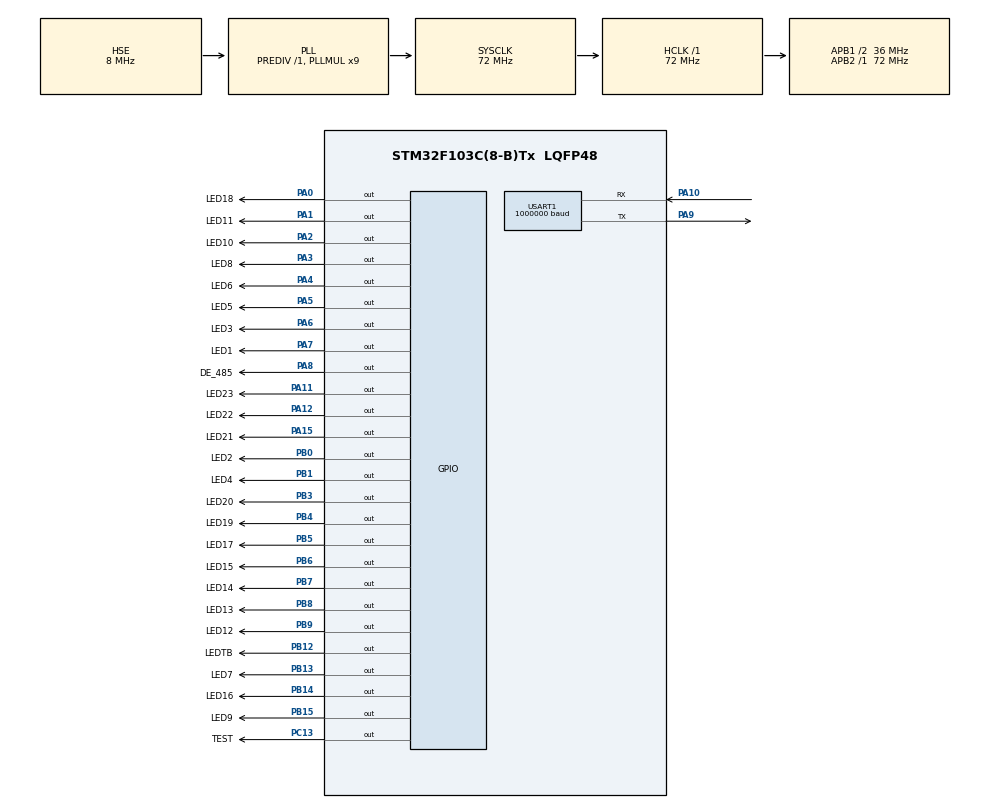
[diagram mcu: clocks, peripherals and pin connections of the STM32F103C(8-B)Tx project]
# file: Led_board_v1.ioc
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Dma.Request0=USART1_RX
Dma.Request1=USART1_TX
Dma.USART1_RX.0.Direction=DMA_PERIPH_TO_MEMORY
Dma.USART1_RX.0.Instance=DMA1_Channel5
Dma.USART1_RX.0.MemDataAlignment=DMA_MDATAALIGN_BYTE
Dma.USART1_RX.0.MemInc=DMA_MINC_ENABLE
Dma.USART1_RX.0.Mode=DMA_NORMAL
Dma.USART1_RX.0.PeriphDataAlignment=DMA_PDATAALIGN_BYTE
Dma.USART1_RX.0.PeriphInc=DMA_PINC_DISABLE
Dma.USART1_RX.0.Priority=DMA_PRIORITY_LOW
Dma.USART1_TX.1.Direction=DMA_MEMORY_TO_PERIPH
Dma.USART1_TX.1.Instance=DMA1_Channel4
Dma.USART1_TX.1.MemDataAlignment=DMA_MDATAALIGN_BYTE
Dma.USART1_TX.1.MemInc=DMA_MINC_ENABLE
Dma.USART1_TX.1.Mode=DMA_NORMAL
Dma.USART1_TX.1.PeriphDataAlignment=DMA_PDATAALIGN_BYTE
Dma.USART1_TX.1.PeriphInc=DMA_PINC_DISABLE
Dma.USART1_TX.1.Priority=DMA_PRIORITY_LOW
Mcu.Family=STM32F1
Mcu.Name=STM32F103C(8-B)Tx
Mcu.Package=LQFP48
NVIC.DMA1_Channel4_IRQn=true\:0\:0\:false\:false\:true\:false\:true\:true
NVIC.DMA1_Channel5_IRQn=true\:0\:0\:false\:false\:true\:false\:true\:true
NVIC.PriorityGroup=NVIC_PRIORITYGROUP_4
NVIC.TIM1_UP_IRQn=true\:2\:0\:true\:false\:true\:true\:true\:true
NVIC.TIM2_IRQn=true\:1\:0\:true\:false\:true\:true\:true\:true
NVIC.USART1_IRQn=true\:0\:0\:false\:false\:true\:true\:true\:true
PA0-WKUP.GPIO_Label=LED18
PA0-WKUP.Signal=GPIO_Output
PA1.GPIO_Label=LED11
PA1.Signal=GPIO_Output
PA10.Mode=Asynchronous
PA10.Signal=USART1_RX
PA11.GPIO_Label=LED23
PA11.Signal=GPIO_Output
PA12.GPIO_Label=LED22
PA12.Signal=GPIO_Output
PA13.Mode=Serial_Wire
PA13.Signal=SYS_JTMS-SWDIO
PA14.Mode=Serial_Wire
PA14.Signal=SYS_JTCK-SWCLK
PA15.GPIO_Label=LED21
PA15.Signal=GPIO_Output
PA2.GPIO_Label=LED10
PA2.Signal=GPIO_Output
PA3.GPIO_Label=LED8
PA3.Signal=GPIO_Output
PA4.GPIO_Label=LED6
PA4.Signal=GPIO_Output
PA5.GPIO_Label=LED5
PA5.Signal=GPIO_Output
PA6.GPIO_Label=LED3
PA6.Signal=GPIO_Output
PA7.GPIO_Label=LED1
PA7.Signal=GPIO_Output
PA8.GPIO_Label=DE_485
PA8.Signal=GPIO_Output
PA9.Mode=Asynchronous
PA9.Signal=USART1_TX
PB0.GPIO_Label=LED2
PB0.Signal=GPIO_Output
PB1.GPIO_Label=LED4
PB1.Signal=GPIO_Output
PB12.GPIO_Label=LEDTB
PB12.Signal=GPIO_Output
PB13.GPIO_Label=LED7
PB13.Signal=GPIO_Output
PB14.GPIO_Label=LED16
PB14.Signal=GPIO_Output
PB15.GPIO_Label=LED9
PB15.Signal=GPIO_Output
PB3.GPIO_Label=LED20
PB3.Signal=GPIO_Output
PB4.GPIO_Label=LED19
PB4.Signal=GPIO_Output
PB5.GPIO_Label=LED17
PB5.Signal=GPIO_Output
PB6.GPIO_Label=LED15
PB6.Signal=GPIO_Output
PB7.GPIO_Label=LED14
PB7.Signal=GPIO_Output
PB8.GPIO_Label=LED13
PB8.Signal=GPIO_Output
PB9.GPIO_Label=LED12
PB9.Signal=GPIO_Output
PC13-TAMPER-RTC.GPIO_Label=TEST
PC13-TAMPER-RTC.Signal=GPIO_Output
PD0-OSC_IN.Mode=HSE-External-Oscillator
PD0-OSC_IN.Signal=RCC_OSC_IN
PD1-OSC_OUT.Mode=HSE-External-Oscillator
PD1-OSC_OUT.Signal=RCC_OSC_OUT
ProjectManager.HeapSize=0x200
ProjectManager.StackSize=0x400
ProjectManager.TargetToolchain=MDK-ARM V5.32
RCC.AHBFreq_Value=72000000
RCC.APB1CLKDivider=RCC_HCLK_DIV2
RCC.APB1Freq_Value=36000000
RCC.APB1TimFreq_Value=72000000
RCC.APB2Freq_Value=72000000
RCC.APB2TimFreq_Value=72000000
RCC.HCLKFreq_Value=72000000
RCC.PLLMUL=RCC_PLL_MUL9
RCC.PLLSourceVirtual=RCC_PLLSOURCE_HSE
RCC.SYSCLKFreq_VALUE=72000000
RCC.SYSCLKSource=RCC_SYSCLKSOURCE_PLLCLK
RCC.USBFreq_Value=72000000
TIM1.Prescaler=72-1
TIM2.Period=999
TIM2.Prescaler=72-1
USART1.BaudRate=1000000
USART1.VirtualMode=VM_ASYNC
VP_TIM1_VS_ClockSourceINT.Mode=Internal
VP_TIM2_VS_ClockSourceINT.Mode=Internal
board=custom

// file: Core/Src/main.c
/* USER CODE BEGIN Header */
/**
  ******************************************************************************
  * @file           : main.c
  * @brief          : Main program body
  ******************************************************************************
  * @attention
  *
  * Copyright (c) 2024 STMicroelectronics.
  * All rights reserved.
  *
  * This software is licensed under terms that can be found in the LICENSE file
  * in the root directory of this software component.
  * If no LICENSE file comes with this software, it is provided AS-IS.
  *
  ******************************************************************************
  */
/* USER CODE END Header */
#include "main.h"

/* USER CODE BEGIN Includes */
#include "scan_led.h"
#include "rs485.h"
#include "string.h"
#include "stdlib.h"
/* USER CODE END Includes */

TIM_HandleTypeDef htim1;
TIM_HandleTypeDef htim2;

UART_HandleTypeDef huart1;
DMA_HandleTypeDef hdma_usart1_rx;
DMA_HandleTypeDef hdma_usart1_tx;

/* USER CODE BEGIN PV */
	extern flag_irq_t vFlag;
	extern rs485_t vRS485;		// variable RS485

	uint32_t tick_whileTrue = 0;

/* USER CODE END PV */

void SystemClock_Config(void);
static void MX_GPIO_Init(void);
static void MX_DMA_Init(void);
static void MX_USART1_UART_Init(void);
static void MX_TIM1_Init(void);
static void MX_TIM2_Init(void);

/* USER CODE BEGIN 0 */

	/*_____________________________________________________________*/
	void HAL_UART_RxCpltCallback(UART_HandleTypeDef *huart) {
			if(huart->Instance == USART1)
			{
				RS485_Read(&vRS485);
			}
		}

	/*_____________________________________________________________*/
		void HAL_TIM_PeriodElapsedCallback(TIM_HandleTypeDef *htim){
			UNUSED(htim);
			if (htim->Instance == htim2.Instance){ 	// every 1ms

				HANDLE_MODE(&vFlag);

			}

		}

/* USER CODE END 0 */

int main(void)
{

  /* MCU Configuration--------------------------------------------------------*/

  /* Reset of all peripherals, Initializes the Flash interface and the Systick. */
  HAL_Init();

  /* USER CODE BEGIN Init */
		FLAG_Init(&vFlag);
		RS485_Init(&vRS485, MACH_LED);

  /* USER CODE END Init */

  /* Configure the system clock */
  SystemClock_Config();

  /* Initialize all configured peripherals */
  MX_GPIO_Init();
  MX_DMA_Init();
  MX_USART1_UART_Init();
  MX_TIM1_Init();
  MX_TIM2_Init();
  /* USER CODE BEGIN 2 */

		Full_LED(off);

		HAL_GPIO_WritePin(DE_485_GPIO_Port, DE_485_Pin, GPIO_PIN_RESET);

		HAL_TIM_Base_Start_IT(&htim1);
		HAL_TIM_Base_Start_IT(&htim2);

		HAL_UART_Receive_IT(&huart1, &vRS485.rxByte, 1);

  /* USER CODE END 2 */

  /* Infinite loop */
  while (1)
  {

    /* USER CODE BEGIN 3 */
		if(++tick_whileTrue >= 1000000)
			tick_whileTrue = 0;

		if(vRS485.RxFlag == 1)
		{
			vRS485.RxFlag = 0;
			Handle_Data_Rx(&vRS485, &vFlag);
		}

		if(vRS485.TxFlag == 1)
		{
			RS485_SendData(&vRS485, USART1, 1000);

		}

  }
  /* USER CODE END 3 */
}

void SystemClock_Config(void)
{
  RCC_OscInitTypeDef RCC_OscInitStruct = {0};
  RCC_ClkInitTypeDef RCC_ClkInitStruct = {0};

  /** Initializes the RCC Oscillators according to the specified parameters
  * in the RCC_OscInitTypeDef structure.
  */
  RCC_OscInitStruct.OscillatorType = RCC_OSCILLATORTYPE_HSE;
  RCC_OscInitStruct.HSEState = RCC_HSE_ON;
  RCC_OscInitStruct.HSEPredivValue = RCC_HSE_PREDIV_DIV1;
  RCC_OscInitStruct.HSIState = RCC_HSI_ON;
  RCC_OscInitStruct.PLL.PLLState = RCC_PLL_ON;
  RCC_OscInitStruct.PLL.PLLSource = RCC_PLLSOURCE_HSE;
  RCC_OscInitStruct.PLL.PLLMUL = RCC_PLL_MUL9;
  if (HAL_RCC_OscConfig(&RCC_OscInitStruct) != HAL_OK)
  {
    Error_Handler();
  }

  /** Initializes the CPU, AHB and APB buses clocks
  */
  RCC_ClkInitStruct.ClockType = RCC_CLOCKTYPE_HCLK|RCC_CLOCKTYPE_SYSCLK
                              |RCC_CLOCKTYPE_PCLK1|RCC_CLOCKTYPE_PCLK2;
  RCC_ClkInitStruct.SYSCLKSource = RCC_SYSCLKSOURCE_PLLCLK;
  RCC_ClkInitStruct.AHBCLKDivider = RCC_SYSCLK_DIV1;
  RCC_ClkInitStruct.APB1CLKDivider = RCC_HCLK_DIV2;
  RCC_ClkInitStruct.APB2CLKDivider = RCC_HCLK_DIV1;

  if (HAL_RCC_ClockConfig(&RCC_ClkInitStruct, FLASH_LATENCY_2) != HAL_OK)
  {
    Error_Handler();
  }
}

static void MX_TIM1_Init(void)
{

  TIM_ClockConfigTypeDef sClockSourceConfig = {0};
  TIM_MasterConfigTypeDef sMasterConfig = {0};

  htim1.Instance = TIM1;
  htim1.Init.Prescaler = 72-1;
  htim1.Init.CounterMode = TIM_COUNTERMODE_UP;
  htim1.Init.Period = 65535;
  htim1.Init.ClockDivision = TIM_CLOCKDIVISION_DIV1;
  htim1.Init.RepetitionCounter = 0;
  htim1.Init.AutoReloadPreload = TIM_AUTORELOAD_PRELOAD_DISABLE;
  if (HAL_TIM_Base_Init(&htim1) != HAL_OK)
  {
    Error_Handler();
  }
  sClockSourceConfig.ClockSource = TIM_CLOCKSOURCE_INTERNAL;
  if (HAL_TIM_ConfigClockSource(&htim1, &sClockSourceConfig) != HAL_OK)
  {
    Error_Handler();
  }
  sMasterConfig.MasterOutputTrigger = TIM_TRGO_RESET;
  sMasterConfig.MasterSlaveMode = TIM_MASTERSLAVEMODE_DISABLE;
  if (HAL_TIMEx_MasterConfigSynchronization(&htim1, &sMasterConfig) != HAL_OK)
  {
    Error_Handler();
  }

}

static void MX_TIM2_Init(void)
{

  TIM_ClockConfigTypeDef sClockSourceConfig = {0};
  TIM_MasterConfigTypeDef sMasterConfig = {0};

  htim2.Instance = TIM2;
  htim2.Init.Prescaler = 72-1;
  htim2.Init.CounterMode = TIM_COUNTERMODE_UP;
  htim2.Init.Period = 999;
  htim2.Init.ClockDivision = TIM_CLOCKDIVISION_DIV1;
  htim2.Init.AutoReloadPreload = TIM_AUTORELOAD_PRELOAD_DISABLE;
  if (HAL_TIM_Base_Init(&htim2) != HAL_OK)
  {
    Error_Handler();
  }
  sClockSourceConfig.ClockSource = TIM_CLOCKSOURCE_INTERNAL;
  if (HAL_TIM_ConfigClockSource(&htim2, &sClockSourceConfig) != HAL_OK)
  {
    Error_Handler();
  }
  sMasterConfig.MasterOutputTrigger = TIM_TRGO_RESET;
  sMasterConfig.MasterSlaveMode = TIM_MASTERSLAVEMODE_DISABLE;
  if (HAL_TIMEx_MasterConfigSynchronization(&htim2, &sMasterConfig) != HAL_OK)
  {
    Error_Handler();
  }

}

static void MX_USART1_UART_Init(void)
{

  huart1.Instance = USART1;
  huart1.Init.BaudRate = 1000000;
  huart1.Init.WordLength = UART_WORDLENGTH_8B;
  huart1.Init.StopBits = UART_STOPBITS_1;
  huart1.Init.Parity = UART_PARITY_NONE;
  huart1.Init.Mode = UART_MODE_TX_RX;
  huart1.Init.HwFlowCtl = UART_HWCONTROL_NONE;
  huart1.Init.OverSampling = UART_OVERSAMPLING_16;
  if (HAL_UART_Init(&huart1) != HAL_OK)
  {
    Error_Handler();
  }

}

static void MX_DMA_Init(void)
{

  /* DMA controller clock enable */
  __HAL_RCC_DMA1_CLK_ENABLE();

  /* DMA interrupt init */
  /* DMA1_Channel4_IRQn interrupt configuration */
  HAL_NVIC_SetPriority(DMA1_Channel4_IRQn, 0, 0);
  HAL_NVIC_EnableIRQ(DMA1_Channel4_IRQn);
  /* DMA1_Channel5_IRQn interrupt configuration */
  HAL_NVIC_SetPriority(DMA1_Channel5_IRQn, 0, 0);
  HAL_NVIC_EnableIRQ(DMA1_Channel5_IRQn);

}

static void MX_GPIO_Init(void)
{
  GPIO_InitTypeDef GPIO_InitStruct = {0};

  /* GPIO Ports Clock Enable */
  __HAL_RCC_GPIOC_CLK_ENABLE();
  __HAL_RCC_GPIOD_CLK_ENABLE();
  __HAL_RCC_GPIOA_CLK_ENABLE();
  __HAL_RCC_GPIOB_CLK_ENABLE();

  /*Configure GPIO pin Output Level */
  HAL_GPIO_WritePin(TEST_GPIO_Port, TEST_Pin, GPIO_PIN_RESET);

  /*Configure GPIO pin Output Level */
  HAL_GPIO_WritePin(GPIOA, LED18_Pin|LED11_Pin|LED10_Pin|LED8_Pin
                          |LED6_Pin|LED5_Pin|LED3_Pin|LED1_Pin
                          |DE_485_Pin|LED23_Pin|LED22_Pin|LED21_Pin, GPIO_PIN_RESET);

  /*Configure GPIO pin Output Level */
  HAL_GPIO_WritePin(GPIOB, LED2_Pin|LED4_Pin|LEDTB_Pin|LED7_Pin
                          |LED16_Pin|LED9_Pin|LED20_Pin|LED19_Pin
                          |LED17_Pin|LED15_Pin|LED14_Pin|LED13_Pin
                          |LED12_Pin, GPIO_PIN_RESET);

  /*Configure GPIO pin : TEST_Pin */
  GPIO_InitStruct.Pin = TEST_Pin;
  GPIO_InitStruct.Mode = GPIO_MODE_OUTPUT_PP;
  GPIO_InitStruct.Pull = GPIO_NOPULL;
  GPIO_InitStruct.Speed = GPIO_SPEED_FREQ_LOW;
  HAL_GPIO_Init(TEST_GPIO_Port, &GPIO_InitStruct);

  /*Configure GPIO pins : LED18_Pin LED11_Pin LED10_Pin LED8_Pin
                           LED6_Pin LED5_Pin LED3_Pin LED1_Pin
                           DE_485_Pin LED23_Pin LED22_Pin LED21_Pin */
  GPIO_InitStruct.Pin = LED18_Pin|LED11_Pin|LED10_Pin|LED8_Pin
                          |LED6_Pin|LED5_Pin|LED3_Pin|LED1_Pin
                          |DE_485_Pin|LED23_Pin|LED22_Pin|LED21_Pin;
  GPIO_InitStruct.Mode = GPIO_MODE_OUTPUT_PP;
  GPIO_InitStruct.Pull = GPIO_NOPULL;
  GPIO_InitStruct.Speed = GPIO_SPEED_FREQ_LOW;
  HAL_GPIO_Init(GPIOA, &GPIO_InitStruct);

  /*Configure GPIO pins : LED2_Pin LED4_Pin LEDTB_Pin LED7_Pin
                           LED16_Pin LED9_Pin LED20_Pin LED19_Pin
                           LED17_Pin LED15_Pin LED14_Pin LED13_Pin
                           LED12_Pin */
  GPIO_InitStruct.Pin = LED2_Pin|LED4_Pin|LEDTB_Pin|LED7_Pin
                          |LED16_Pin|LED9_Pin|LED20_Pin|LED19_Pin
                          |LED17_Pin|LED15_Pin|LED14_Pin|LED13_Pin
                          |LED12_Pin;
  GPIO_InitStruct.Mode = GPIO_MODE_OUTPUT_PP;
  GPIO_InitStruct.Pull = GPIO_NOPULL;
  GPIO_InitStruct.Speed = GPIO_SPEED_FREQ_LOW;
  HAL_GPIO_Init(GPIOB, &GPIO_InitStruct);

}

void Error_Handler(void)
{
  __disable_irq();
  while (1)
  {
  }
}
